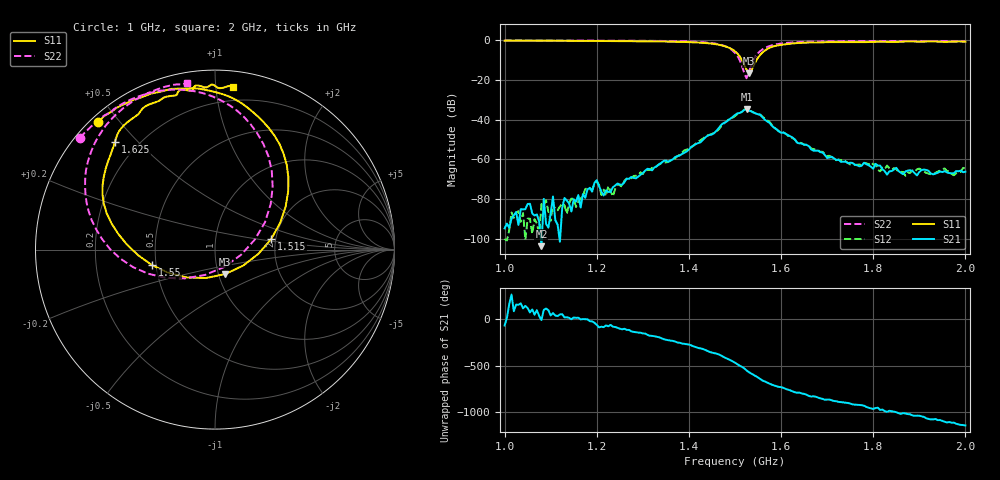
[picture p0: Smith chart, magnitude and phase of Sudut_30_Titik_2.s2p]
# Hz S RI R 50
! CMT, C1220, 16058040, 17.2.0/1
! Date: 14/08/2018 12:44:39
! Data: Format (Calibration Info)
! Freq  S11: Re/Im (F2)  S21: Re/Im (F2)  S12: Re/Im (F2)  S22: Re/Im (F2)
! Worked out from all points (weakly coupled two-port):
!   201 points, 1 GHz to 2 GHz, reference 50 ohm
!   highest |S21| = -34.74 dB at 1.525 GHz (marker M1); lowest = -103.5 dB at 1.08 GHz (marker M2)
!   lowest |S11| = -16.6 dB at 1.53 GHz (marker M3), VSWR 1.35, Z = 54 - j15 ohm
!   |S11| at or under -10 dB: 1.515 GHz to 1.547 GHz (31.92 MHz wide, 2.08 % of centre)
!   |S22| runs from -19.2 to -0.2 dB; largest |S21 - S12| = 0.00078
!   S11 on the Smith chart (normalised r, x): 1 GHz: 0.02, +0.44; 1.515 GHz: 1.89, +0.24; 1.55 GHz: 0.48, -0.10; 1.625 GHz: 0.12, +0.43; 2 GHz: 0.10, +1.11
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1e9  -0.6509 0.7136  5.82e-06 -1.76e-05  5.01e-06 8.85e-06  -0.752 0.6222
1.08e9  -0.567 0.7751  6.47e-06 -1.55e-06  -2.95e-06 7.61e-05  -0.6952 0.6814
1.17e9  -0.4794 0.8231  0.000135 -6.7e-06  0.000121 -3.15e-06  -0.6163 0.7472
1.2e9  -0.4369 0.8398  0.000128 -0.000273  9.6e-05 -0.000258  -0.5832 0.7603
1.21e9  -0.4272 0.8425  1.61e-05 -0.000155  3.35e-06 -0.000128  -0.5788 0.7645
1.215e9  -0.4214 0.8445  1.19e-06 -0.000125  3.11e-05 -0.000172  -0.576 0.769
1.225e9  -0.4065 0.8497  2.67e-05 -0.000151  4.86e-05 -0.00021  -0.5668 0.7795
1.235e9  -0.3877 0.8567  2.09e-05 -0.0002  -1.26e-06 -0.000118  -0.5551 0.7885
1.245e9  -0.3691 0.8646  -2.93e-05 -0.000247  -2.28e-05 -0.000245  -0.543 0.7962
1.335e9  -0.2165 0.8958  -0.000727 0.000224  -0.000678 0.000301  -0.402 0.8615
1.45e9  0.1833 0.7894  0.00424 -9.56e-05  0.00437 -0.000402  0.0211 0.8375
1.5e9  0.4079 0.3247  -0.0042 -0.0124  -0.00399 -0.0117  0.3213 0.3494
1.515e9  0.3125 0.0579  -0.0139 -0.00718  -0.0138 -0.00761  0.221 0.0548
1.525e9  0.1564 -0.0896  -0.018 0.00356  -0.0182 0.00348  0.051 -0.097
1.53e9  0.0576 -0.1358  -0.0145 0.00834  -0.0147 0.00834  -0.0564 -0.1413
1.55e9  -0.3501 -0.087  -0.000657 0.0136  -0.00113 0.0136  -0.4577 -0.0971
1.58e9  -0.6198 0.2568  0.00682 0.00189  0.00717 0.00167  -0.704 0.2145
1.625e9  -0.5572 0.6006  0.00202 -0.00293  0.00199 -0.00277  -0.6994 0.5186
1.67e9  -0.4434 0.7421  -0.000531 -0.00159  -0.000572 -0.00173  -0.625 0.6683
1.835e9  -0.1366 0.8842  -6.1e-05 0.0005  2.56e-05 0.000604  -0.379 0.8695
1.87e9  -0.1057 0.9142  0.000189 0.000463  0.000145 0.000362  -0.3309 0.8896
2e9  0.1018 0.9057  0.000247 -0.000428  0.000224 -0.000535  -0.157 0.9294
